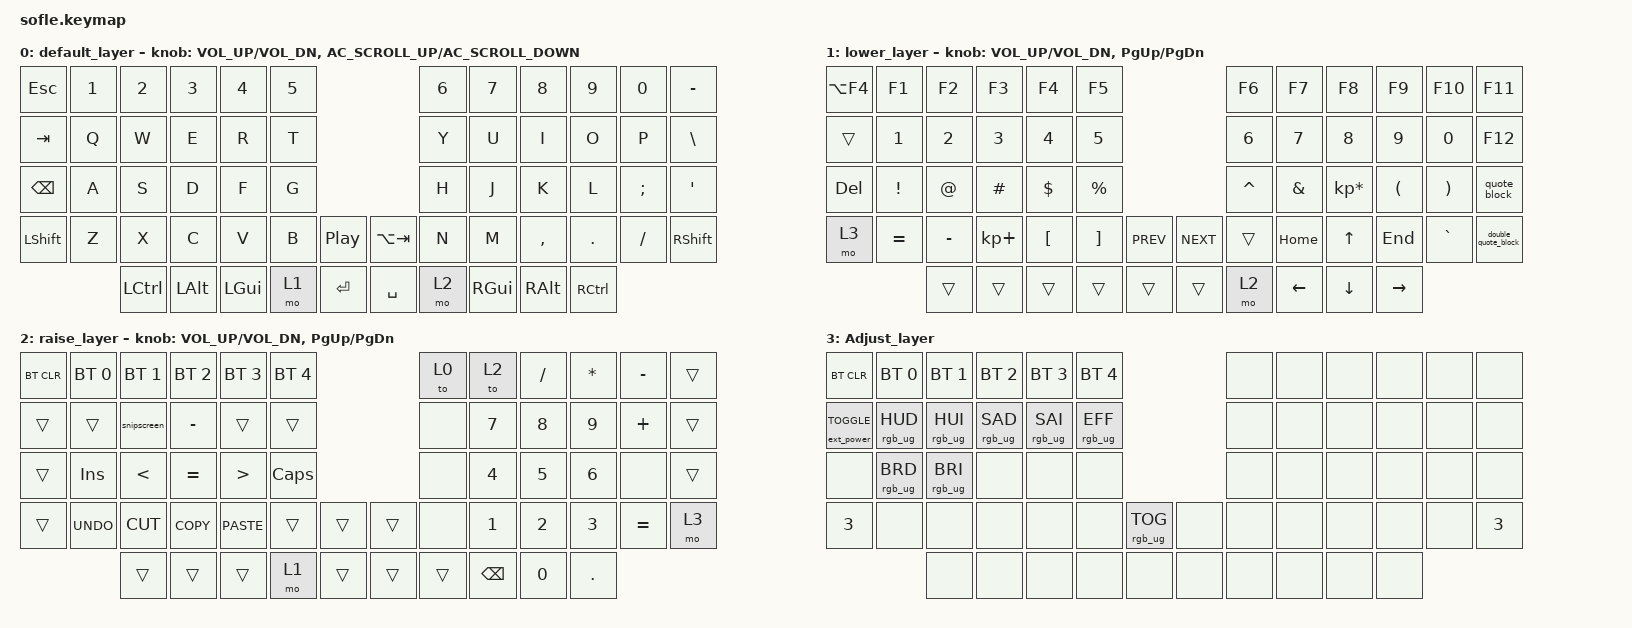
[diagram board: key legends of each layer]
/*
 * Copyright (c) 2020 The ZMK Contributors
 *
 * SPDX-License-Identifier: MIT
 */

#include <behaviors.dtsi>
#include <dt-bindings/zmk/bt.h>
#include <dt-bindings/zmk/ext_power.h>
#include <dt-bindings/zmk/keys.h>
#include <dt-bindings/zmk/rgb.h>

/*
 * Temporarily here because nice nano v2 spi is not defined on ZMK Yet
 * Source: https://github.com/zmkfirmware/zmk/blob/main/app/boards/shields/reviung41/boards/nice_nano.overlay
 * GitHub Issue: https://github.com/zmkfirmware/zmk/issues/885
 */

#include <dt-bindings/led/led.h>

&pinctrl {
    spi3_default: spi3_default {
        group1 {
            psels = <NRF_PSEL(SPIM_MOSI, 0, 8)>;
        };
    };

    spi3_sleep: spi3_sleep {
        group1 {
            psels = <NRF_PSEL(SPIM_MOSI, 0, 8)>;
            low-power-enable;
        };
    };
};

&spi3 {
    compatible = "nordic,nrf-spim";
    status = "okay";

    pinctrl-0 = <&spi3_default>;
    pinctrl-1 = <&spi3_sleep>;
    pinctrl-names = "default", "sleep";

    led_strip: ws2812@0 {
        compatible = "worldsemi,ws2812-spi";
        label = "WS2812";

        /* SPI */
        reg = <0>; /* ignored, but necessary for SPI bindings */
        spi-max-frequency = <4000000>;

        /* WS2812 */
        chain-length = <30>;
        spi-one-frame = <0x70>;
        spi-zero-frame = <0x40>;

        color-mapping = <LED_COLOR_ID_GREEN LED_COLOR_ID_RED LED_COLOR_ID_BLUE>;
    };
};

/ {
    chosen {
        zmk,underglow = &led_strip;
    };
};

/* END temporary RGB support section */

#define BASE 0
#define LOWER 1
#define RAISE 2
#define ADJUST 3

/ {
    // Activate ADJUST layer by pressing raise and lower

    conditional_layers {
        compatible = "zmk,conditional-layers";
    };

    combos {
        compatible = "zmk,combos";

        new_combo {
            bindings = <&kp CAPSLOCK>;
            key-positions = <36 49>;
            layers = <0>;
        };
    };

    macros {
        snipscreen: snipscreen {
            compatible = "zmk,behavior-macro";
            label = "SNIPSCREEN";
            #binding-cells = <0>;
            bindings = <&kp LS(LG(S))>;
        };

        quote_block: quote_block {
            compatible = "zmk,behavior-macro";
            label = "QUOTE_BLOCK";
            #binding-cells = <0>;
            bindings = <&kp APOSTROPHE &kp APOSTROPHE &kp LEFT_ARROW>;
        };

        double_quote_block: double_quote_block {
            compatible = "zmk,behavior-macro";
            label = "DOUBLE_QUOTE_BLOCK";
            #binding-cells = <0>;
            bindings = <&kp DOUBLE_QUOTES &kp DOUBLE_QUOTES &kp LEFT_ARROW>;
        };
    };

    keymap {
        compatible = "zmk,keymap";

        default_layer {
            // ------------------------------------------------------------------------------------------------------------
            // |  `    |  1  |  2  |  3   |  4   |  5   |                           |  6   |  7    |  8    |  9   |   0   |       |
            // |  ESC  |  Q  |  W  |  E   |  R   |  T   |                           |  Y   |  U    |  I    |  O   |   P   | BKSPC |
            // |  TAB  |  A  |  S  |  D   |  F   |  G   |                           |  H   |  J    |  K    |  L   |   ;   |   '   |
            // | SHIFT |  Z  |  X  |  C   |  V   |  B   |  C_PLAY_PAUSE  |  |       |  N   |  M    |  ,    |  .   |   /   | SHIFT |
            //               | GUI | ALT  | CTRL | LOWER|      ENTER     |  | SPACE | RAISE| CTRL  | ALT   | GUI  |

            bindings = <
&kp ESC        &kp N1  &kp N2            &kp N3    &kp N4        &kp N5                                 &kp N6  &kp N7    &kp N8     &kp N9             &kp N0    &kp MINUS
&kp TAB        &kp Q   &kp W             &kp E     &kp R         &kp T                                  &kp Y   &kp U     &kp I      &kp O              &kp P     &kp BSLH
&kp BACKSPACE  &kp A   &kp S             &kp D     &kp F         &kp G                                  &kp H   &kp J     &kp K      &kp L              &kp SEMI  &kp SQT
&kp LSHFT      &kp Z   &kp X             &kp C     &kp V         &kp B   &kp C_PLAY_PAUSE  &kp LA(TAB)  &kp N   &kp M     &kp COMMA  &kp DOT            &kp FSLH  &kp RSHFT
                       &kp LEFT_CONTROL  &kp LALT  &kp LEFT_GUI  &mo 1   &kp ENTER         &kp SPACE    &mo 2   &kp RGUI  &kp RALT   &kp RIGHT_CONTROL
            >;

            sensor-bindings =
                <&inc_dec_kp C_VOL_UP C_VOL_DN>,
                <&inc_dec_kp C_AC_SCROLL_UP C_AC_SCROLL_DOWN>;
        };

        lower_layer {
            // TODO: Some binds are waiting for shifted keycode support.
            // ------------------------------------------------------------------------------------------------------------
            // |       |  F1 |  F2 |  F3  |  F4  |  F5  |                   |  F6  |  F7   |  F8   |  F9  |  F10  |  F11  |
            // | `     |   1 |   2 |   3  |   4  |   5  |                   |   6  |   7   |   8   |   9  |    0  |  F12  |
            // |       |  !  |  @  |  #   |  $   |  %   |                   |  ^   |  &    |  *    |  (   |   )   |   |   |
            // |       |  =  |  -  |  +   |  {   |  }   |        |  |       |  [   |  ]    |  ;    |  :   |   \   |       |
            //               |     |      |      |      |        |  |       |      |       |       |      |

            bindings = <
&kp LA(F4)  &kp F1     &kp F2     &kp F3       &kp F4            &kp F5                                     &kp F6     &kp F7          &kp F8           &kp F9           &kp F10    &kp F11
&trans      &kp N1     &kp N2     &kp N3       &kp N4            &kp N5                                     &kp N6     &kp N7          &kp N8           &kp N9           &kp N0     &kp F12
&kp DEL     &kp EXCL   &kp AT     &kp HASH     &kp DLLR          &kp PRCNT                                  &kp CARET  &kp AMPS        &kp KP_MULTIPLY  &kp LPAR         &kp RPAR   &quote_block
&mo 3       &kp EQUAL  &kp MINUS  &kp KP_PLUS  &kp LEFT_BRACKET  &kp RIGHT_BRACKET  &kp C_PREV  &kp C_NEXT  &trans     &kp HOME        &kp UP_ARROW     &kp END          &kp GRAVE  &double_quote_block
                       &trans     &trans       &trans            &trans             &trans      &trans      &mo 2      &kp LEFT_ARROW  &kp DOWN_ARROW   &kp RIGHT_ARROW
            >;

            sensor-bindings = <&inc_dec_kp C_VOL_UP C_VOL_DN &inc_dec_kp PG_UP PG_DN>;
        };

        raise_layer {
            // ------------------------------------------------------------------------------------------------------------
            // |BTCLR| BT1  | BT2  |  BT3  |  BT4  |  BT5 |                |      |      |       |      |       |       |
            // |     | INS  | PSCR | GUI   |       |      |                | PGUP |      |   ^   |      |       |       |
            // |     | ALT  | CTRL | SHIFT |       | CAPS |                | PGDN |   <- |   v   |  ->  |  DEL  | BKSPC |
            // |     | UNDO | CUT  | COPY  | PASTE |      |      |  |      |      |      |       |      |       |       |
            //              |      |       |       |      |      |  |      |      |      |       |      |

            bindings = <
&bt BT_CLR  &bt BT_SEL 0  &bt BT_SEL 1   &bt BT_SEL 2  &bt BT_SEL 3      &bt BT_SEL 4                  &to 0   &to 2          &kp SLASH     &kp ASTERISK  &kp MINUS  &trans
&trans      &trans        &snipscreen    &kp MINUS     &trans            &trans                        &none   &kp NUMBER_7   &kp NUMBER_8  &kp NUMBER_9  &kp PLUS   &trans
&trans      &kp INS       &kp LESS_THAN  &kp EQUAL     &kp GREATER_THAN  &kp CLCK                      &none   &kp NUMBER_4   &kp NUMBER_5  &kp NUMBER_6  &none      &trans
&trans      &kp K_UNDO    &kp K_CUT      &kp K_COPY    &kp K_PASTE       &trans        &trans  &trans  &none   &kp NUMBER_1   &kp NUMBER_2  &kp NUMBER_3  &kp EQUAL  &mo 3
                          &trans         &trans        &trans            &mo 1         &trans  &trans  &trans  &kp BACKSPACE  &kp NUMBER_0  &kp PERIOD
            >;

            sensor-bindings = <&inc_dec_kp C_VOL_UP C_VOL_DN &inc_dec_kp PG_UP PG_DN>;
        };

        // ------------------------------------------------------------------------------------------------------------
        // |BTCLR | BT1   | BT2   |  BT3  |  BT4  |  BT5  |                |      |      |       |      |       |       |
        // |EXTPWR|RGB_HUD|RGB_HUI|RGB_SAD|RGB_SAI|RGB_EFF|                |      |      |       |      |       |       |
        // |      |RGB_BRD|RGB_BRI|       |       |       |                |      |      |       |      |       |       |
        // |      |       |       |       |       |       |RGB_TOG| |      |      |      |       |      |       |       |
        //                |       |       |       |       |       | |      |      |      |       |      |

        Adjust_layer {
            bindings = <
&bt BT_CLR                       &bt BT_SEL 0     &bt BT_SEL 1     &bt BT_SEL 2     &bt BT_SEL 3     &bt BT_SEL 4                             &none  &none  &none  &none  &none  &none
&ext_power EXT_POWER_TOGGLE_CMD  &rgb_ug RGB_HUD  &rgb_ug RGB_HUI  &rgb_ug RGB_SAD  &rgb_ug RGB_SAI  &rgb_ug RGB_EFF                          &none  &none  &none  &none  &none  &none
&none                            &rgb_ug RGB_BRD  &rgb_ug RGB_BRI  &none            &none            &none                                    &none  &none  &none  &none  &none  &none
&kp NUMBER_3                     &none            &none            &none            &none            &none            &rgb_ug RGB_TOG  &none  &none  &none  &none  &none  &none  &kp NUMBER_3
                                                  &none            &none            &none            &none            &none            &none  &none  &none  &none  &none
            >;
        };
    };
};
